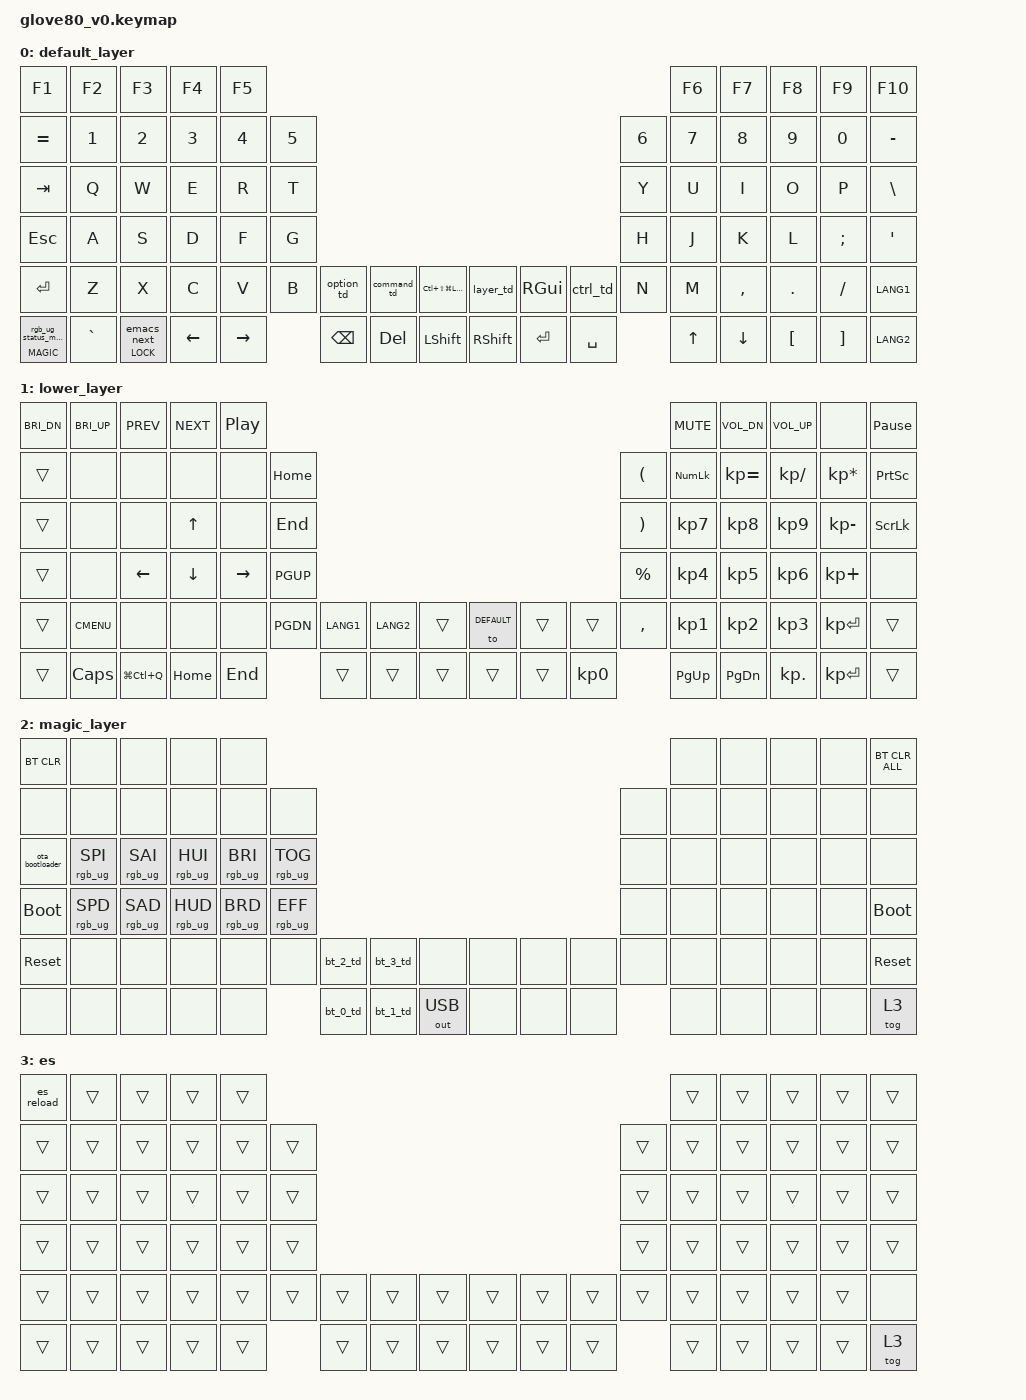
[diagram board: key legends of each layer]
/*
 * Copyright (c) 2020 The ZMK Contributors
 *
 * SPDX-License-Identifier: MIT
 */

#include <behaviors.dtsi>
#include <dt-bindings/zmk/keys.h>
#include <dt-bindings/zmk/bt.h>
#include <dt-bindings/zmk/ext_power.h>
#include <dt-bindings/zmk/outputs.h>
#include <dt-bindings/zmk/rgb.h>

#define HYPER LC(LS(LG(LALT)))

// layers
#define DEFAULT 0
#define LOWER 1
#define MAGIC 2
#define FACTORY_TEST 3

/ {
    behaviors {
        // For the "layer" key, it'd nice to be able to use it as either a shift or a toggle.
        // Configure it as a tap dance, so the first tap (or hold) is a &mo and the second tap is a &to
        layer_td: tap_dance_0 {
            compatible = "zmk,behavior-tap-dance";
            label = "LAYER_TAP_DANCE";
            #binding-cells = <0>;
            tapping-term-ms = <200>;
            bindings = <&mo LOWER>, <&to LOWER>;
        };

        // mod/mod-shift tap-dance
        command_td: command_td_1 {
            compatible = "zmk,behavior-tap-dance";
            label = "COMMAND_TAP_DANCE";
            #binding-cells = <0>;
            tapping-term-ms = <200>;
            bindings = <&kp LGUI>, <&kp LS(LGUI)>;
        };

        option_td: option_td_1 {
            compatible = "zmk,behavior-tap-dance";
            label = "OPTION_TAP_DANCE";
            #binding-cells = <0>;
            tapping-term-ms = <200>;
            bindings = <&kp LALT>, <&kp LS(LALT)>;
        };

        ctrl_td: ctrl_td_1 {
            compatible = "zmk,behavior-tap-dance";
            label = "CTRL_TAP_DANCE";
            #binding-cells = <0>;
            tapping-term-ms = <200>;
            bindings = <&kp LCTRL>, <&kp LS(LCTRL)>;
        };

        next_lock: next_lock_hold_tap {
            compatible = "zmk,behavior-hold-tap";
            label = "NEXT_LOCK_HOLD_TAP";
            #binding-cells = <2>;
            flavor = "tap-preferred";
            tapping-term-ms = <200>;
            bindings = <&kp>, <&emacs_next>;
        };

        #define LOCK LG(LC(Q))
        #define NEXT_LOCK &next_lock LOCK 0

        // BT select/disconnect tap-dance
        bt_1_td: bt_1_td_1 {
            compatible = "zmk,behavior-tap-dance";
            label = "BT1_TAP_DANCE";
            #binding-cells = <0>;
            tapping-term-ms = <200>;
            bindings = <&bt_1>, <&bt BT_DISCONNECT 1>;
        };
        bt_2_td: bt_2_td_1 {
            compatible = "zmk,behavior-tap-dance";
            label = "BT2_TAP_DANCE";
            #binding-cells = <0>;
            tapping-term-ms = <200>;
            bindings = <&bt_2>, <&bt BT_DISCONNECT 2>;
        };
        bt_3_td: bt_3_td_1 {
            compatible = "zmk,behavior-tap-dance";
            label = "BT3_TAP_DANCE";
            #binding-cells = <0>;
            tapping-term-ms = <200>;
            bindings = <&bt_3>, <&bt BT_DISCONNECT 3>;
        };
        bt_0_td: bt_0_td_1 {
            compatible = "zmk,behavior-tap-dance";
            label = "BT0_TAP_DANCE";
            #binding-cells = <0>;
            tapping-term-ms = <200>;
            bindings = <&bt_0>, <&bt BT_DISCONNECT 0>;
        };

        magic: magic_hold_tap {
            compatible = "zmk,behavior-hold-tap";
            label = "MAGIC_HOLD_TAP";
            #binding-cells = <2>;
            flavor = "tap-preferred";
            tapping-term-ms = <200>;
            bindings = <&mo>, <&rgb_ug_status_macro>;
        };
    };

    macros {
        rgb_ug_status_macro: rgb_ug_status_macro_0 {
            label = "RGB_UG_STATUS";
            compatible = "zmk,behavior-macro";
            #binding-cells = <0>;
            bindings
                = <&rgb_ug RGB_STATUS>;
        };

        bt_0: bt_profile_macro_0 {
            label = "BT_0";
            compatible = "zmk,behavior-macro";
            #binding-cells = <0>;
            bindings
                = <&out OUT_BLE>,
                  <&bt BT_SEL 0>;
        };

        bt_1: bt_profile_macro_1 {
            label = "BT_1";
            compatible = "zmk,behavior-macro";
            #binding-cells = <0>;
            bindings
                = <&out OUT_BLE>,
                  <&bt BT_SEL 1>;
        };

        bt_2: bt_profile_macro_2 {
            label = "BT_2";
            compatible = "zmk,behavior-macro";
            #binding-cells = <0>;
            bindings
                = <&out OUT_BLE>,
                  <&bt BT_SEL 2>;
        };

        bt_3: bt_profile_macro_3 {
            label = "BT_3";
            compatible = "zmk,behavior-macro";
            #binding-cells = <0>;
            bindings
                = <&out OUT_BLE>,
                  <&bt BT_SEL 3>;
        };

        emacs_next: emacs_next_0 {
            label = "Emacs_Next";
            compatible = "zmk,behavior-macro";
            #binding-cells = <0>;
            bindings
                = <&kp LC(X)>,
                  <&kp GRAVE>;
        };

        es_reload: es_reload_0 {
            label = "ES_Reload";
            compatible = "zmk,behavior-macro";
            #binding-cells = <0>;
            bindings
                = <&macro_tap_time 10>,
                  <&kp ESC>,
                  <&kp L>,
                  <&kp L>,
                  <&kp D>;
        };
    };

    keymap {
        compatible = "zmk,keymap";

        default_layer {
            bindings = <
            &kp F1         &kp F2      &kp F3      &kp F4      &kp F5                                                                                          &kp F6  &kp F7      &kp F8      &kp F9      &kp F10
            &kp EQUAL      &kp N1      &kp N2      &kp N3      &kp N4      &kp N5                                                                      &kp N6  &kp N7  &kp N8      &kp N9      &kp N0      &kp MINUS
            &kp TAB        &kp Q       &kp W       &kp E       &kp R       &kp T                                                                       &kp Y   &kp U   &kp I       &kp O       &kp P       &kp BSLH
            &kp ESC        &kp A       &kp S       &kp D       &kp F       &kp G                                                                       &kp H   &kp J   &kp K       &kp L       &kp SEMI    &kp SQT
            &kp RET        &kp Z       &kp X       &kp C       &kp V       &kp B   &option_td  &command_td &kp HYPER  &layer_td  &kp RGUI &ctrl_td     &kp N   &kp M   &kp COMMA   &kp DOT     &kp FSLH    &kp LANG1
            &magic MAGIC 0 &kp GRAVE   NEXT_LOCK   &kp LEFT    &kp RIGHT           &kp BSPC    &kp DEL     &kp LSHIFT &kp RSHIFT &kp RET  &kp SPACE            &kp UP  &kp DOWN    &kp LBKT    &kp RBKT    &kp LANG2
            >;
        };

        lower_layer {
            bindings = <
            &kp C_BRI_DN      &kp C_BRI_UP        &kp C_PREV      &kp C_NEXT      &kp C_PP                                                                                                           &kp C_MUTE   &kp C_VOL_DN &kp C_VOL_UP  &none           &kp PAUSE_BREAK
            &trans            &none               &none           &none           &none           &kp HOME                                                                              &kp LPAR     &kp KP_NUM   &kp KP_EQUAL &kp KP_DIVIDE &kp KP_MULTIPLY &kp PSCRN
            &trans            &none               &none           &kp UP          &none           &kp END                                                                               &kp RPAR     &kp KP_N7    &kp KP_N8    &kp KP_N9     &kp KP_MINUS    &kp SLCK
            &trans            &none               &kp LEFT        &kp DOWN        &kp RIGHT       &kp PGUP                                                                              &kp PRCNT    &kp KP_N4    &kp KP_N5    &kp KP_N6     &kp KP_PLUS     &none
            &trans            &kp K_CMENU         &none           &none           &none           &kp PGDN        &kp LANG1   &kp LANG2   &trans      &to DEFAULT &trans      &trans    &kp COMMA    &kp KP_N1    &kp KP_N2    &kp KP_N3     &kp KP_ENTER    &trans
            &trans            &kp CAPS            &kp LOCK        &kp HOME        &kp END                         &trans      &trans      &trans      &trans      &trans      &kp KP_N0              &kp PG_UP    &kp PG_DN    &kp KP_DOT    &kp KP_ENTER    &trans
            >;
        };

        magic_layer {
            bindings = <
            &bt BT_CLR        &none               &none           &none           &none                                                                                                           &none      &none      &none      &none      &bt BT_CLR_ALL
            &none             &none               &none           &none           &none           &none                                                                                &none      &none      &none      &none      &none      &none
            &ota_bootloader   &rgb_ug RGB_SPI     &rgb_ug RGB_SAI &rgb_ug RGB_HUI &rgb_ug RGB_BRI &rgb_ug RGB_TOG                                                                      &none      &none      &none      &none      &none      &none
            &bootloader       &rgb_ug RGB_SPD     &rgb_ug RGB_SAD &rgb_ug RGB_HUD &rgb_ug RGB_BRD &rgb_ug RGB_EFF                                                                      &none      &none      &none      &none      &none      &bootloader
            &sys_reset        &none               &none           &none           &none           &none           &bt_2_td  &bt_3_td  &none            &none     &none     &none       &none      &none      &none      &none      &none      &sys_reset
            &none             &none               &none           &none           &none                           &bt_0_td  &bt_1_td  &out OUT_USB     &none     &none     &none                  &none      &none      &none      &none      &tog 3
            >;
        };

        es {
            bindings = <
            &es_reload &trans   &trans   &trans   &trans                                                                              &trans   &trans   &trans   &trans   &trans
            &trans     &trans   &trans   &trans   &trans   &trans                                                            &trans   &trans   &trans   &trans   &trans   &trans
            &trans     &trans   &trans   &trans   &trans   &trans                                                            &trans   &trans   &trans   &trans   &trans   &trans
            &trans     &trans   &trans   &trans   &trans   &trans                                                            &trans   &trans   &trans   &trans   &trans   &trans
            &trans     &trans   &trans   &trans   &trans   &trans   &trans   &trans   &trans      &trans   &trans   &trans   &trans   &trans   &trans   &trans   &trans   &none
            &trans     &trans   &trans   &trans   &trans            &trans   &trans   &trans      &trans   &trans   &trans            &trans   &trans   &trans   &trans   &tog 3
            >;
        };
    };
};
